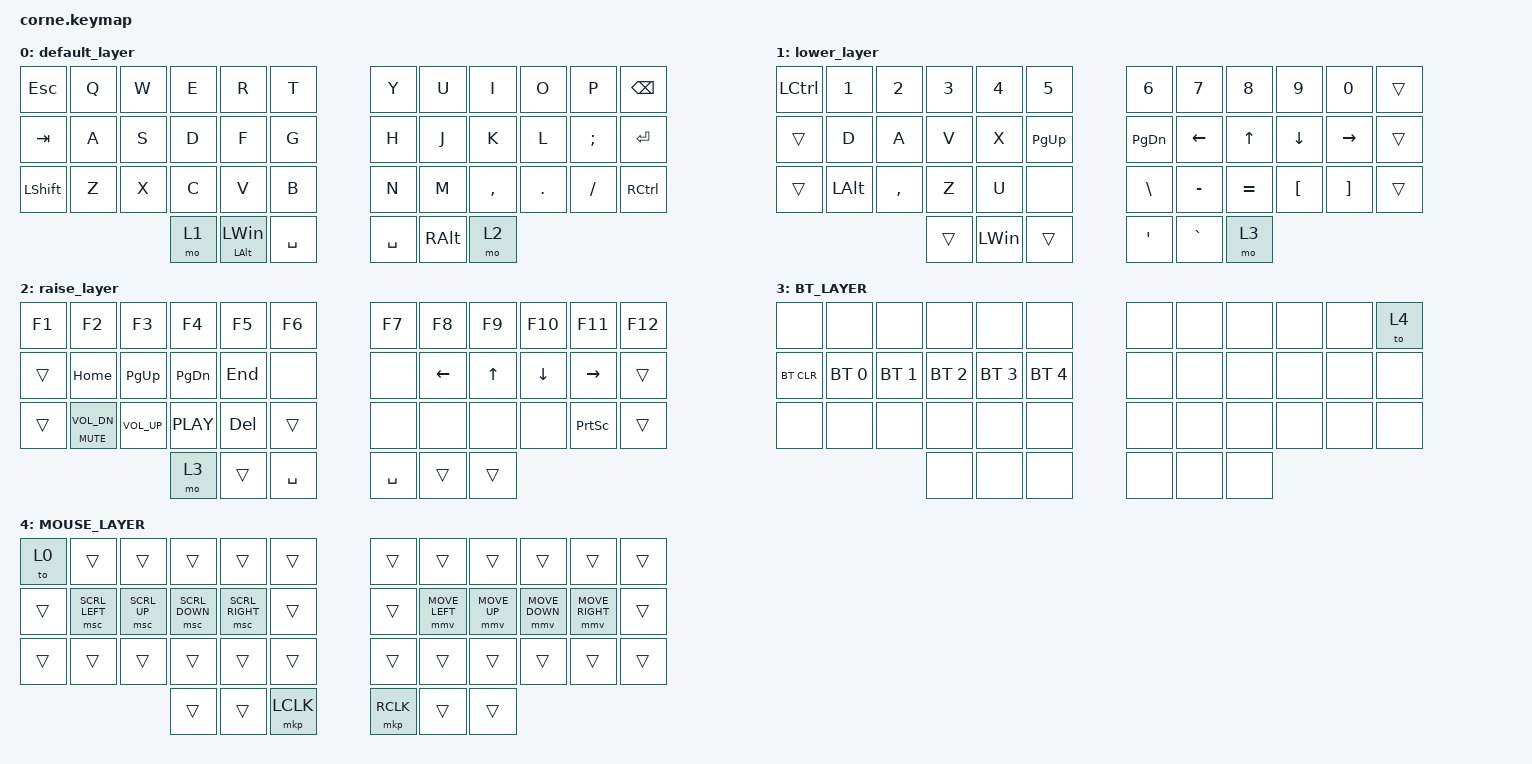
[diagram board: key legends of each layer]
/*
 * Copyright (c) 2020 The ZMK Contributors
 *
 * SPDX-License-Identifier: MIT
 */

#include <behaviors.dtsi>
#include <dt-bindings/zmk/bt.h>
#include <dt-bindings/zmk/keys.h>
#include <dt-bindings/zmk/pointing.h>

/ {
    keymap {
        compatible = "zmk,keymap";

        default_layer {
            // -----------------------------------------------------------------------------------------
            // |  TAB |  Q  |  W  |  E  |  R  |  T  |   |  Y  |  U   |  I  |  O  |  P  | BKSP |
            // | CTRL |  A  |  S  |  D  |  F  |  G  |   |  H  |  J   |  K  |  L  |  ;  |  '   |
            // | SHFT |  Z  |  X  |  C  |  V  |  B  |   |  N  |  M   |  ,  |  .  |  /  | ESC  |
            //                    | GUI | LWR | SPC |   | ENT | RSE  | ALT |

            bindings = <
&kp ESC    &kp Q  &kp W  &kp E  &kp R              &kp T        &kp Y      &kp U     &kp I      &kp O    &kp P     &kp BSPC
&kp TAB    &kp A  &kp S  &kp D  &kp F              &kp G        &kp H      &kp J     &kp K      &kp L    &kp SEMI  &kp ENTER
&kp LSHFT  &kp Z  &kp X  &kp C  &kp V              &kp B        &kp N      &kp M     &kp COMMA  &kp DOT  &kp FSLH  &kp RCTRL
                         &mo 1  &mt LALT LEFT_WIN  &kp SPACE    &kp SPACE  &kp RALT  &mo 2
            >;
        };

        lower_layer {
            // -----------------------------------------------------------------------------------------
            // |  TAB |  1  |  2  |  3  |  4  |  5  |   |  6  |  7  |  8  |  9  |  0  | BKSP |
            // | BTCLR| BT1 | BT2 | BT3 | BT4 | BT5 |   | LFT | DWN |  UP | RGT |     |      |
            // | SHFT |     |     |     |     |     |   |     |     |     |     |     |      |
            //                    | GUI |     | SPC |   | ENT |     | ALT |

            bindings = <
&kp LCTRL  &kp N1    &kp N2     &kp N3  &kp N4        &kp N5       &kp N6         &kp N7     &kp N8     &kp N9            &kp N0             &trans
&trans     &kp D     &kp A      &kp V   &kp X         &kp PG_UP    &kp PAGE_DOWN  &kp LEFT   &kp UP     &kp DOWN          &kp RIGHT          &trans
&trans     &kp LALT  &kp COMMA  &kp Z   &kp U         &none        &kp BACKSLASH  &kp MINUS  &kp EQUAL  &kp LEFT_BRACKET  &kp RIGHT_BRACKET  &trans
                                &trans  &kp LEFT_WIN  &trans       &kp APOS       &kp GRAVE  &mo 3
            >;
        };

        raise_layer {
            // -----------------------------------------------------------------------------------------
            // |  TAB |  !  |  @  |  #  |  $  |  %  |   |  ^  |  &  |  *  |  (  |  )  | BKSP |
            // | CTRL |     |     |     |     |     |   |  -  |  =  |  [  |  ]  |  \  |  `   |
            // | SHFT |     |     |     |     |     |   |  _  |  +  |  {  |  }  | "|" |  ~   |
            //                    | GUI |     | SPC |   | ENT |     | ALT |

            bindings = <
&kp F1  &kp F2               &kp F3           &kp F4         &kp F5      &kp F6       &kp F7     &kp F8    &kp F9        &kp F10   &kp F11          &kp F12
&trans  &kp HOME             &kp PAGE_UP      &kp PAGE_DOWN  &kp END     &none        &none      &kp LEFT  &kp UP_ARROW  &kp DOWN  &kp RIGHT        &trans
&trans  &mt C_MUTE C_VOL_DN  &kp C_VOLUME_UP  &kp C_PLAY     &kp DELETE  &trans       &none      &none     &none         &none     &kp PRINTSCREEN  &trans
                                              &mo 3          &trans      &kp SPACE    &kp SPACE  &trans    &trans
            >;
        };

        BT_LAYER {
            bindings = <
&none       &none         &none         &none         &none         &none           &none  &none  &none  &none  &none  &to 4
&bt BT_CLR  &bt BT_SEL 0  &bt BT_SEL 1  &bt BT_SEL 2  &bt BT_SEL 3  &bt BT_SEL 4    &none  &none  &none  &none  &none  &none
&none       &none         &none         &none         &none         &none           &none  &none  &none  &none  &none  &none
                                        &none         &none         &none           &none  &none  &none
            >;
        };

        MOUSE_LAYER {
            bindings = <
&to 0   &trans          &trans        &trans          &trans           &trans       &trans     &trans          &trans        &trans          &trans           &trans
&trans  &msc SCRL_LEFT  &msc SCRL_UP  &msc SCRL_DOWN  &msc SCRL_RIGHT  &trans       &trans     &mmv MOVE_LEFT  &mmv MOVE_UP  &mmv MOVE_DOWN  &mmv MOVE_RIGHT  &trans
&trans  &trans          &trans        &trans          &trans           &trans       &trans     &trans          &trans        &trans          &trans           &trans
                                      &trans          &trans           &mkp LCLK    &mkp RCLK  &trans          &trans
            >;
        };
    };
};
